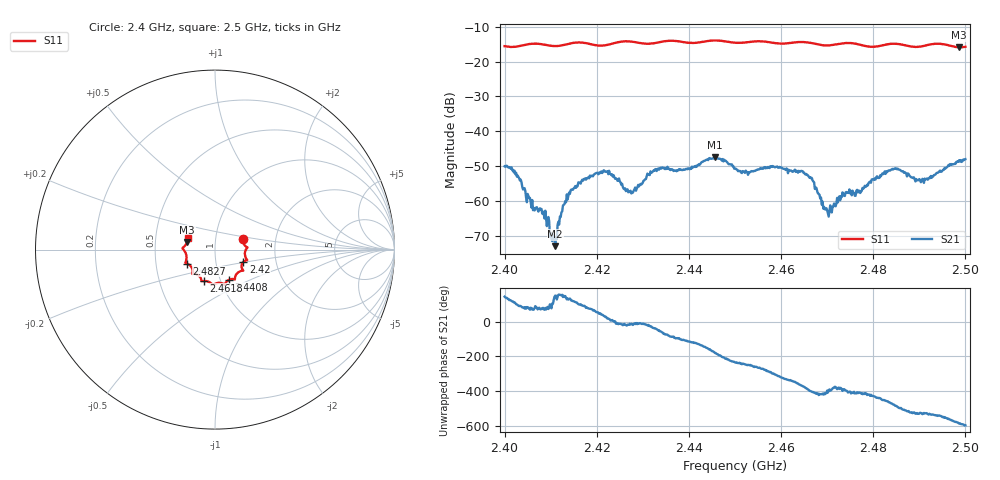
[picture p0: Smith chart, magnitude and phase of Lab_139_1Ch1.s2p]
# Hz S RI R 50
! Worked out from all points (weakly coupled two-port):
!   601 points, 2.4 GHz to 2.5 GHz, reference 50 ohm
!   highest |S21| = -47.38 dB at 2.4457 GHz (marker M1); lowest = -73.0 dB at 2.411 GHz (marker M2)
!   lowest |S11| = -15.9 dB at 2.4987 GHz (marker M3), VSWR 1.38, Z = 36.5 + j3.22 ohm
!   |S11| at or under -10 dB: start of sweep to end of sweep
!   S12 and S22 are empty: the file has one direction only
!   S11 on the Smith chart (normalised r, x): 2.4 GHz: 1.36, +0.17; 2.42 GHz: 1.36, -0.19; 2.4408 GHz: 1.10, -0.38; 2.4618 GHz: 0.84, -0.30; 2.4827 GHz: 0.72, -0.12; 2.5 GHz: 0.73, +0.09
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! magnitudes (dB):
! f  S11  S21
! 2.4 GHz  -15.5  -50.1
! 2.4027 GHz  -15.6  -53.0
! 2.4062 GHz  -14.8  -62.7
! 2.411 GHz  -15.5  -73.0
! 2.4132 GHz  -15.1  -60.1
! 2.4167 GHz  -14.5  -54.4
! 2.42 GHz  -15.3  -52.0
! 2.4228 GHz  -15.0  -52.1
! 2.4273 GHz  -14.2  -57.1
! 2.4333 GHz  -14.5  -50.7
! 2.4408 GHz  -14.6  -50.4
! 2.4457 GHz  -13.9  -47.4
! 2.45 GHz  -14.6  -50.7
! 2.4618 GHz  -14.6  -51.3
! 2.4667 GHz  -14.7  -53.4
! 2.4705 GHz  -15.3  -62.9
! 2.4738 GHz  -14.7  -58.6
! 2.4827 GHz  -15.1  -52.3
! 2.4833 GHz  -15.0  -51.3
! 2.4908 GHz  -15.5  -53.9
! 2.4987 GHz  -15.9  -48.3
! 2.5 GHz  -15.7  -48.0
